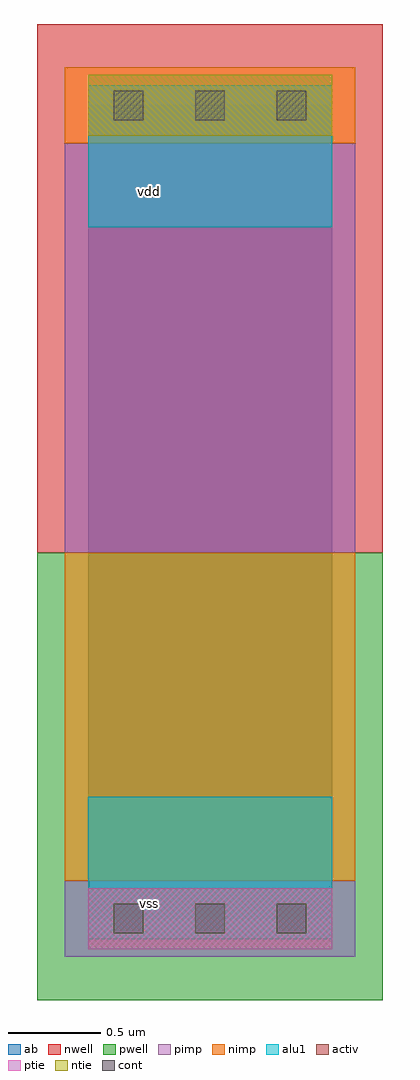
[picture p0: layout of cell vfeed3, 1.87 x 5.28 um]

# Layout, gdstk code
import gdstk
lib = gdstk.Library(unit=1e-6, precision=2.5e-09)
def R(c, l, rs):  # rectangles x0, y0, x1, y1
    for r in rs: c.add(gdstk.rectangle(r[:2], r[2:], *l))
def A(c, l, x, y, w, h, nx, ny, dx, dy):  # array of equal rectangles
    R(c, l, [(x+i*dx, y+j*dy, x+i*dx+w, y+j*dy+h) for i in range(nx) for j in range(ny)])
ntie = (5, 0)
ptie = (6, 0)
cont = (25, 0)
pwell = (41, 0)
nwell = (42, 0)
activ = (43, 0)
pimp = (44, 0)
nimp = (45, 0)
alu1 = (49, 0)
ab = (63, 0)

vfeed3 = lib.new_cell('vfeed3')
R(vfeed3, ntie, [(0,4.235,1.32,4.565)])
R(vfeed3, ptie, [(0,-0.165,1.32,0.165)])
A(vfeed3, cont, 0.14, -0.08, 0.16, 0.16, 3, 2, 0.44, 4.4)
R(vfeed3, pwell, [(-0.275,-0.44,1.595,1.98)])
R(vfeed3, nwell, [(-0.275,1.98,1.595,4.84)])
R(vfeed3, activ, [(0,-0.165,1.32,0.165), (0,4.235,1.32,4.565)])
R(vfeed3, pimp, [(-0.125,-0.205,1.445,0.205), (-0.125,1.98,1.445,4.195)])
R(vfeed3, nimp, [(-0.125,0.205,1.445,1.98), (-0.125,4.195,1.445,4.605)])
R(vfeed3, alu1, [(0,-0.11,1.32,0.66), (0,3.74,1.32,4.51)])
R(vfeed3, ab, [(0,0,1.32,4.4)])
vfeed3.add(gdstk.Label('vss', (0.33,0.0825), layer=49, texttype=0))
vfeed3.add(gdstk.Label('vdd', (0.33,3.9325), layer=49, texttype=0))

lib.write_gds('vfeed3.gds')
